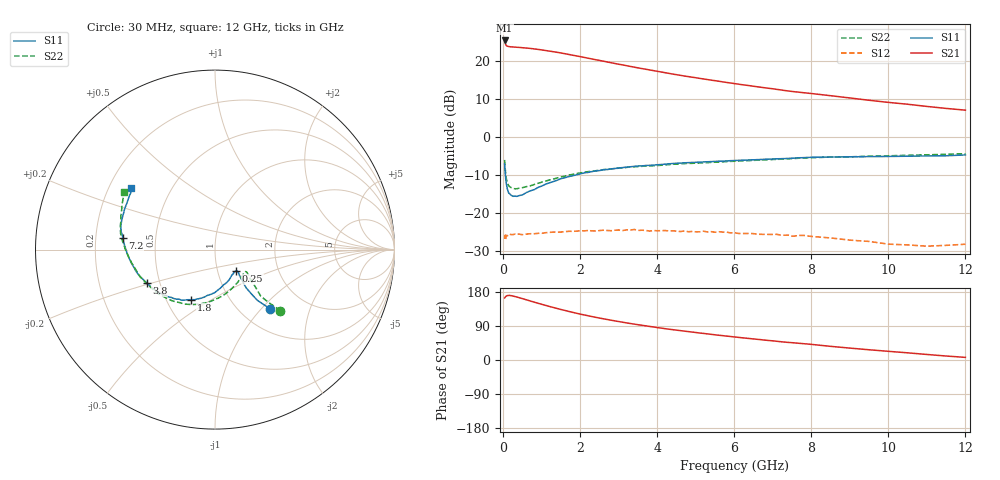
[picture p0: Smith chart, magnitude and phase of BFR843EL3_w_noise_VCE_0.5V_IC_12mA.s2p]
! Infineon Technologies  Discrete & RF Semiconductors
! BFR843EL3
! VCE =  0.5 V,  IC =  12 mA
! Common Emitter S-Parameters:  Aug 2013
# GHz  S  MA  R  50
!  f  S11  S21  S12  S22
! GHz  MAG  ANG  MAG  ANG  MAG  ANG  MAG  ANG
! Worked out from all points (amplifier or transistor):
!   103 points, 30 MHz to 12 GHz, reference 50 ohm
!   highest |S21| = 25.5 dB at 30 MHz (marker M1)
!   |S21| within 3 dB of that: start of sweep to 1.313 GHz
!   unconditionally stable (mu >= 1): 5.762 GHz to end of sweep
!   at 400 MHz: K = 0.98, MSG = 24.6 dB, |S12| = -25.6 dB
!   at 3.7 GHz: K = 0.82, MSG = 21.3 dB, |S12| = -24.7 dB
!   at 12 GHz: K = 2.47, MAG = 11.0 dB, |S12| = -28.3 dB
!   lowest NFmin = 0.93 dB at 450 MHz
!   S11 on the Smith chart (normalised r, x): 30 MHz: 1.35, -1.11; 250 MHz: 1.22, -0.30; 1.8 GHz: 0.67, -0.41; 3.8 GHz: 0.42, -0.19; 7.2 GHz: 0.32, +0.06; 12 GHz: 0.29, +0.30
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0.03  0.4479 -47.2  18.82 163.7  0.0454 31.5  0.4989 -43.0
0.04  0.3687 -50.1  17.68 165.0  0.0485 22.1  0.4143 -44.7
0.06  0.2755 -50.8  16.5 167.6  0.0449 16.1  0.3203 -43.5
0.1  0.208 -47.2  15.84 170.0  0.0499 10.3  0.2523 -39.3
0.15  0.1806 -43.7  15.58 170.5  0.0525 6.9  0.2236 -36.0
0.25  0.1652 -45.5  15.44 168.7  0.0516 6.3  0.2087 -35.9
0.6  0.1856 -64.8  14.94 158.7  0.0524 4.5  0.222 -55.3
1  0.2264 -86.1  14.09 146.8  0.0537 4.4  0.2543 -77.4
1.4  0.2701 -102.3  13.11 135.8  0.0556 4.8  0.2888 -94.7
1.8  0.3084 -115.2  12.02 125.7  0.0569 4.3  0.3222 -108.7
2.1  0.3368 -123.1  11.23 118.8  0.0578 2.7  0.3436 -117.7
2.4  0.3572 -130.4  10.47 112.5  0.0575 1.4  0.3593 -125.5
2.9  0.3846 -139.9  9.341 103.1  0.0589 0.7  0.3839 -135.8
3.3  0.4054 -147.0  8.543 96.2  0.0593 -1.4  0.4023 -142.8
3.8  0.4236 -154.1  7.678 88.5  0.0574 -2.5  0.4169 -150.6
4.1  0.4341 -157.6  7.215 84.1  0.0582 -2.7  0.4244 -154.0
5.1  0.4664 -169.1  5.944 71.2  0.0562 -5.5  0.4545 -165.7
6.1  0.4924 -178.4  4.992 59.8  0.0534 -6.6  0.4825 -174.8
7.2  0.5178 172.8  4.192 48.3  0.0509 -7.3  0.5098 176.4
8.5  0.5453 162.3  3.511 36.0  0.0466 -9.4  0.5432 166.2
10.5  0.5586 150.2  2.709 18.9  0.0377 -0.5  0.5744 154.4
12  0.5807 143.8  2.264 6.9  0.0385 14.2  0.6018 147.5
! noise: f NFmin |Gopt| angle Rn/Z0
0.45  0.93  0.05  82  0.12
0.9  0.94  0.06  89  0.12
1.5  0.96  0.07  95  0.11
1.9  0.97  0.08  98  0.11
2.4  0.99  0.08  107  0.11
3.5  1.01  0.11  121  0.11
5.5  1.06  0.17  151  0.1
8  1.12  0.28  183  0.07
10  1.16  0.4  213  0.06
